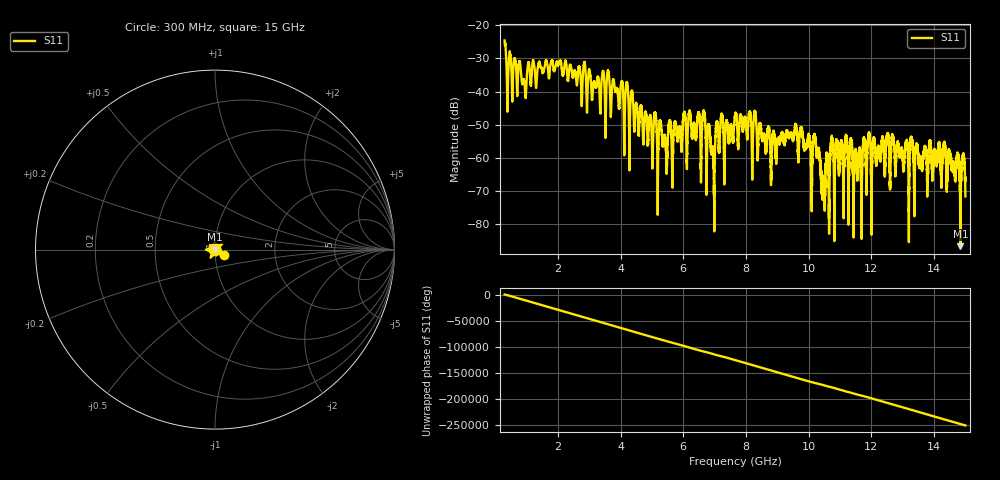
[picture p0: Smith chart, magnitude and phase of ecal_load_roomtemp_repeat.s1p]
# GHZ S RI R 50.0
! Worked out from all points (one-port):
!   12801 points, 300 MHz to 15 GHz, reference 50 ohm
!   lowest |S11| = -86.7 dB at 14.84 GHz (marker M1), VSWR 1.00, Z = 50 + j0.00457 ohm
!   |S11| at or under -10 dB: start of sweep to end of sweep
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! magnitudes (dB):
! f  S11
! 300 MHz  -24.6
! 381.5 MHz  -41.0
! 922.5 MHz  -36.7
! 1.419 GHz  -31.3
! 2.138 GHz  -34.5
! 3.975 GHz  -42.3
! 5.419 GHz  -53.8
! 5.812 GHz  -54.0
! 6.654 GHz  -45.8
! 6.946 GHz  -57.7
! 7.216 GHz  -47.1
! 7.358 GHz  -50.1
! 7.65 GHz  -47.3
! 8.289 GHz  -46.1
! 8.823 GHz  -58.0
! 9.488 GHz  -53.6
! 10.08 GHz  -62.7
! 10.21 GHz  -54.4
! 10.46 GHz  -67.0
! 10.74 GHz  -54.1
! 11.32 GHz  -55.5
! 11.49 GHz  -58.8
! 12.51 GHz  -53.0
! 13.16 GHz  -57.4
! 14.32 GHz  -56.2
! 14.84 GHz  -86.7
! 14.93 GHz  -59.6
! 15 GHz  -71.6
